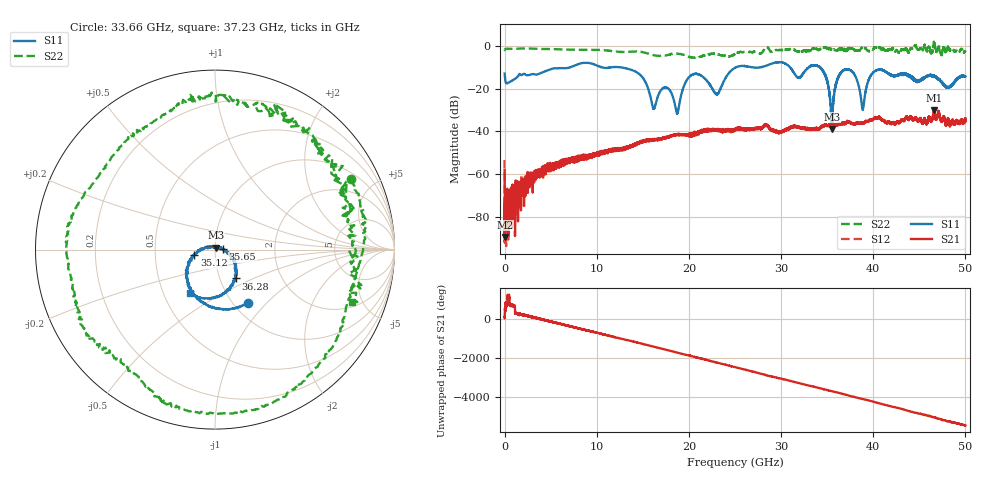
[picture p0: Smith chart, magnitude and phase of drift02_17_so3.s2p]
!Created with skrf (http://scikit-rf.org).
# Hz S RI R 50.0
!freq ReS11 ImS11 ReS21 ImS21 ReS12 ImS12 ReS22 ImS22
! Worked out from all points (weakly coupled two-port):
!   10001 points, 300 kHz to 50 GHz, reference 50 ohm
!   highest |S21| = -30.13 dB at 46.6 GHz (marker M1); lowest = -89.2 dB at 35.3 MHz (marker M2)
!   lowest |S11| = -38.9 dB at 35.51 GHz (marker M3), VSWR 1.02, Z = 50.4 + j1.09 ohm
!   |S11| at or under -10 dB: start of sweep to 7.174 GHz; 12.29 GHz to 25.16 GHz (12.87 GHz wide, 68.7 % of centre); 34.2 GHz to end of sweep (the widest 3 of 17)
!   |S22| runs from -5.7 to 2.4 dB; largest |S21 - S12| = 0.0034
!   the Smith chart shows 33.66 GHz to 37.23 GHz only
!   S11 on the Smith chart (normalised r, x): 33.66 GHz: 1.17, -0.79; 35.12 GHz: 0.79, -0.05; 35.65 GHz: 1.09, +0.01; 36.28 GHz: 1.19, -0.40; 37.23 GHz: 0.68, -0.36
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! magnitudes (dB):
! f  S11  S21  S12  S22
! 300 kHz  -13.0  -58.1  -53.3  -2.0
! 35.3 MHz  -14.5  -89.2  -79.0  -1.7
! 255.3 MHz  -17.6  -77.0  -78.7  -1.4
! 3.51 GHz  -13.4  -61.6  -59.5  -1.5
! 8.335 GHz  -8.2  -52.4  -51.6  -1.9
! 16.67 GHz  -23.2  -43.9  -43.6  -4.8
! 18.74 GHz  -31.6  -41.5  -41.5  -3.7
! 20.23 GHz  -13.8  -41.5  -41.4  -5.4
! 23.04 GHz  -22.7  -39.3  -39.5  -4.1
! 25 GHz  -10.4  -39.0  -39.3  -3.9
! 33.34 GHz  -9.3  -38.7  -38.7  -1.6
! 33.66 GHz  -9.1  -39.0  -38.4  -1.4
! 35.12 GHz  -18.5  -37.0  -37.4  -1.9
! 35.51 GHz  -38.9  -37.1  -36.6  -1.8
! 35.65 GHz  -27.0  -36.6  -36.9  -1.6
! 36.28 GHz  -14.1  -36.4  -36.6  -1.6
! 37.23 GHz  -11.0  -35.6  -35.7  -1.7
! 38.86 GHz  -29.8  -36.1  -36.1  -1.3
! 39.94 GHz  -12.8  -34.4  -34.6  -2.0
! 41.67 GHz  -13.1  -35.6  -35.6  -1.9
! 46.6 GHz  -14.5  -30.1  -30.3  1.8
! 50 GHz  -14.4  -33.9  -34.6  -2.6
